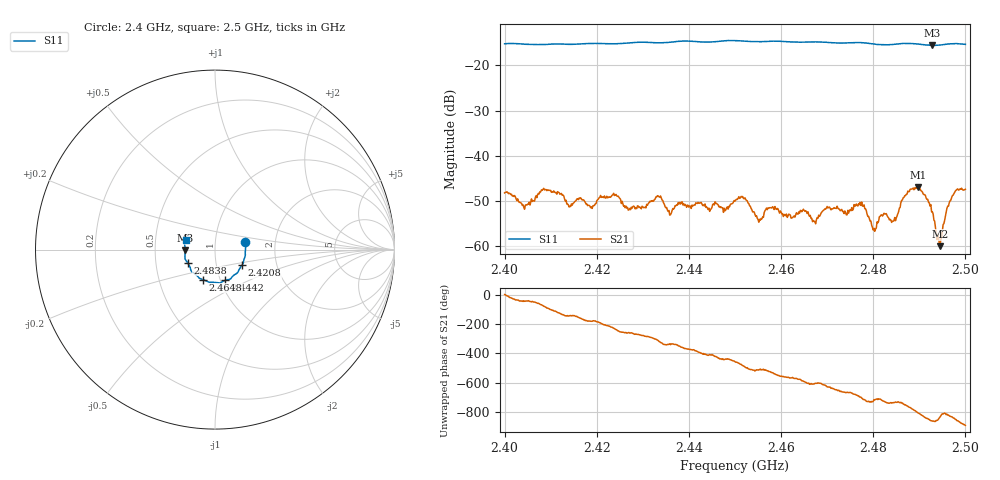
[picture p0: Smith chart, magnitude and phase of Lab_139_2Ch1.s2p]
# Hz S RI R 50
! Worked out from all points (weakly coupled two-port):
!   601 points, 2.4 GHz to 2.5 GHz, reference 50 ohm
!   highest |S21| = -46.94 dB at 2.4897 GHz (marker M1); lowest = -60.0 dB at 2.4945 GHz (marker M2)
!   lowest |S11| = -15.6 dB at 2.4928 GHz (marker M3), VSWR 1.40, Z = 35.8 - j0.347 ohm
!   |S11| at or under -10 dB: start of sweep to end of sweep
!   S12 and S22 are empty: the file has one direction only
!   S11 on the Smith chart (normalised r, x): 2.4 GHz: 1.40, +0.12; 2.4208 GHz: 1.33, -0.24; 2.4442 GHz: 1.05, -0.37; 2.4648 GHz: 0.83, -0.29; 2.4838 GHz: 0.73, -0.11; 2.5 GHz: 0.72, +0.08
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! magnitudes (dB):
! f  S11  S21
! 2.4 GHz  -15.3  -48.2
! 2.4043 GHz  -15.3  -51.8
! 2.4085 GHz  -15.4  -47.2
! 2.4167 GHz  -15.2  -49.5
! 2.4208 GHz  -15.2  -48.8
! 2.4272 GHz  -15.0  -51.6
! 2.4333 GHz  -15.0  -48.9
! 2.4358 GHz  -14.9  -53.1
! 2.4442 GHz  -14.9  -51.9
! 2.45 GHz  -14.5  -50.0
! 2.4553 GHz  -14.8  -54.0
! 2.4648 GHz  -14.9  -51.8
! 2.4667 GHz  -14.8  -53.8
! 2.477 GHz  -15.0  -50.8
! 2.4802 GHz  -15.3  -56.0
! 2.4833 GHz  -15.5  -53.7
! 2.4838 GHz  -15.4  -54.2
! 2.4897 GHz  -15.3  -46.9
! 2.4928 GHz  -15.6  -52.4
! 2.4945 GHz  -15.5  -60.0
! 2.497 GHz  -15.2  -49.3
! 2.5 GHz  -15.4  -47.4
